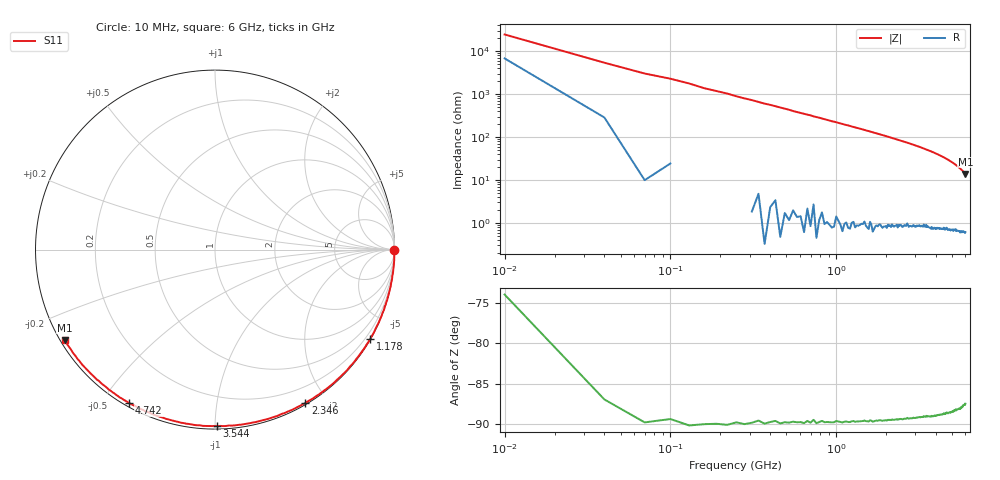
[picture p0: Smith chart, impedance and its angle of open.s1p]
!Keysight Technologies,N5222B,MY58421855,A.13.65.03
!Date: Tuesday, September 29, 2020 17:04:18
!Correction: S11(Full 1 Port(1))
!S1P File: Measurement: S11:
# Hz S  RI  R 50
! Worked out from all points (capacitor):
!   201 points, 10 MHz to 6 GHz, reference 50 ohm
!   read as one part to ground: C = 738 fF near 39.95 MHz
!   lowest |Z| = 13.9 ohm at 6 GHz (marker M1)
!   S11 on the Smith chart (normalised r, x): 10 MHz: open; 1.178 GHz: 0.02, -3.75; 2.346 GHz: 0.02, -1.75; 3.544 GHz: 0.02, -1.01; 4.742 GHz: 0.01, -0.59; 6 GHz: 0.01, -0.28
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1e7  0.9989 -0.00391
3.694e8  0.9862 -0.1648
7.5875e8  0.9427 -0.3321
9.3845e8  0.9118 -0.4073
1.17805e9  0.8653 -0.4971
1.5075e9  0.7801 -0.6197
1.89685e9  0.6618 -0.7428
2.25625e9  0.536 -0.8348
2.3461e9  0.5029 -0.8554
2.61565e9  0.394 -0.9079
2.85525e9  0.3 -0.942
3.005e9  0.2338 -0.9591
3.27455e9  0.1199 -0.9781
3.4842e9  0.0286 -0.9821
3.5441e9  0.0084 -0.9836
3.604e9  -0.0216 -0.9836
3.75375e9  -0.0819 -0.9792
3.7837e9  -0.0994 -0.9784
4.0233e9  -0.1955 -0.9629
4.0832e9  -0.2245 -0.9559
4.203e9  -0.2695 -0.944
4.5025e9  -0.3888 -0.9004
4.7421e9  -0.4777 -0.8548
5.07155e9  -0.5907 -0.7811
5.25125e9  -0.6477 -0.7307
5.55075e9  -0.7341 -0.6465
5.79035e9  -0.7913 -0.5751
6e9  -0.8377 -0.504
